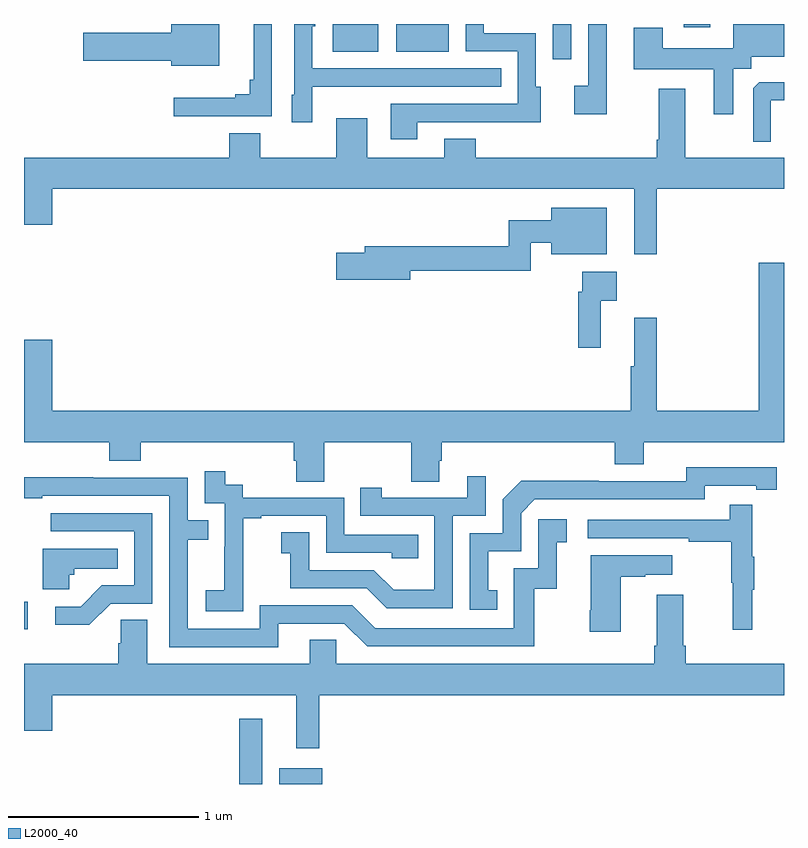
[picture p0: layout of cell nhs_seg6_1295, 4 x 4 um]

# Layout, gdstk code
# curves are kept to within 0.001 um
import gdstk
lib = gdstk.Library(unit=1e-6, precision=1e-09)
def R(c, l, rs):  # rectangles x0, y0, x1, y1
    for r in rs: c.add(gdstk.rectangle(r[:2], r[2:], *l))
def P(c, l, *ps):  # polygons
    for p in ps: c.add(gdstk.Polygon(p, *l))
L2000_40 = (2000, 40)

nhs_seg6_1295 = lib.new_cell('nhs_seg6_1295')
R(nhs_seg6_1295, L2000_40, [(190.134,981.5,190.255,981.844), (190.343,981.5,190.57,981.583), (189,982.314,189.019,982.458), (191.784,985.314,191.88,985.5), (190.625,985.355,190.864,985.5), (190.958,985.355,191.236,985.5), (192.473,985.482,192.613,985.5)])
P(nhs_seg6_1295, L2000_40, [(190.518,985.169),(190.835,985.169),(190.835,985.17),(191.513,985.17),(191.513,985.266),(190.518,985.266),(190.518,985.488),(190.534,985.488),(190.534,985.5),(190.422,985.5),(190.422,985.128),(190.409,985.128),(190.409,984.984),(190.518,984.984)],
  [(190.027,985.5),(189.776,985.5),(189.776,985.454),(189.312,985.454),(189.312,985.307),(189.776,985.307),(189.776,985.28),(190.027,985.28)],
  [(192.733,985.264),(192.828,985.264),(192.828,985.328),(193,985.328),(193,985.5),(192.732,985.5),(192.732,985.372),(192.361,985.372),(192.361,985.481),(192.209,985.481),(192.209,985.262),(192.629,985.262),(192.629,985.026),(192.733,985.026)],
  [(191.071,984.984),(191.501,984.984),(191.501,984.983),(191.719,984.983),(191.719,985.17),(191.694,985.17),(191.694,985.452),(191.421,985.452),(191.421,985.5),(191.325,985.5),(191.325,985.356),(191.598,985.356),(191.598,985.08),(190.931,985.08),(190.931,984.894),(191.071,984.894)],
  [(190.305,985.5),(190.208,985.5),(190.208,985.207),(190.189,985.207),(190.189,985.13),(190.112,985.13),(190.112,985.111),(189.789,985.111),(189.789,985.014),(190.305,985.014)],
  [(192.067,985.5),(191.97,985.5),(191.97,985.174),(191.895,985.174),(191.895,985.026),(192.067,985.026)],
  [(192.93,985.098),(193,985.098),(193,985.193),(192.869,985.193),(192.837,985.161),(192.837,984.881),(192.93,984.881)],
  [(191.377,984.895),(191.213,984.895),(191.213,984.796),(190.807,984.796),(190.807,985.003),(190.643,985.003),(190.643,984.796),(190.243,984.796),(190.243,984.925),(190.079,984.925),(190.079,984.796),(189,984.796),(189,984.444),(189.148,984.444),(189.148,984.632),(192.212,984.632),(192.212,984.288),(192.329,984.288),(192.329,984.632),(193,984.632),(193,984.796),(192.481,984.796),(192.481,985.159),(192.341,985.159),(192.341,984.892),(192.329,984.892),(192.329,984.796),(191.377,984.796)],
  [(191.032,984.202),(191.667,984.202),(191.667,984.349),(191.774,984.349),(191.774,984.287),(192.067,984.287),(192.067,984.532),(191.774,984.532),(191.774,984.466),(191.551,984.466),(191.551,984.331),(190.793,984.331),(190.793,984.297),(190.644,984.297),(190.644,984.155),(191.032,984.155)],
  [(190.581,983.3),(191.038,983.3),(191.038,983.092),(191.185,983.092),(191.185,983.202),(191.198,983.202),(191.198,983.3),(192.11,983.3),(192.11,983.183),(192.262,983.183),(192.262,983.3),(193,983.3),(193,984.244),(192.866,984.244),(192.866,983.464),(192.329,983.464),(192.329,983.953),(192.212,983.953),(192.212,983.7),(192.193,983.7),(192.193,983.464),(189.148,983.464),(189.148,983.839),(189,983.839),(189,983.3),(189.449,983.3),(189.449,983.201),(189.614,983.201),(189.614,983.3),(190.421,983.3),(190.421,983.202),(190.433,983.202),(190.433,983.092),(190.581,983.092)],
  [(192.035,984.044),(192.121,984.044),(192.121,984.196),(191.937,984.196),(191.937,984.092),(191.917,984.092),(191.917,983.796),(192.035,983.796)],
  [(191.492,982.521),(191.443,982.521),(191.443,982.725),(191.616,982.725),(191.616,982.926),(191.688,982.998),(192.582,982.998),(192.582,983.07),(192.854,983.07),(192.854,983.05),(192.962,983.05),(192.962,983.166),(192.486,983.167),(192.486,983.094),(192.026,983.094),(192.026,983.096),(191.618,983.096),(191.52,982.998),(191.52,982.821),(191.346,982.821),(191.346,982.416),(191.492,982.416)],
  [(190.155,982.615),(190.154,982.615),(190.154,982.899),(190.249,982.899),(190.249,982.911),(190.59,982.911),(190.59,982.716),(190.935,982.716),(190.935,982.689),(191.075,982.689),(191.075,982.812),(190.686,982.812),(190.686,983.007),(190.152,983.007),(190.152,983.076),(190.06,983.076),(190.06,983.146),(189.951,983.146),(189.951,982.977),(190.056,982.977),(190.056,982.748),(190.055,982.748),(190.055,982.519),(189.957,982.519),(189.957,982.409),(190.155,982.409)],
  [(191.256,982.911),(191.43,982.911),(191.43,983.119),(191.333,983.119),(191.333,983.007),(190.882,983.007),(190.882,983.059),(190.771,983.059),(190.771,982.911),(191.16,982.911),(191.16,982.522),(190.946,982.522),(190.842,982.626),(190.5,982.626),(190.5,982.825),(190.353,982.825),(190.353,982.715),(190.402,982.715),(190.402,982.53),(190.805,982.53),(190.91,982.425),(191.256,982.425)],
  [(190.339,982.344),(190.686,982.344),(190.806,982.224),(191.686,982.224),(191.686,982.527),(191.804,982.527),(191.804,982.773),(191.857,982.773),(191.857,982.894),(191.706,982.894),(191.706,982.635),(191.577,982.635),(191.577,982.32),(190.848,982.32),(190.728,982.44),(190.242,982.44),(190.242,982.317),(189.861,982.317),(189.861,982.786),(189.971,982.786),(189.971,982.887),(189.861,982.887),(189.861,983.112),(189.365,983.112),(189.365,983.114),(189,983.114),(189,983.004),(189.097,983.004),(189.097,983.016),(189.765,983.016),(189.765,982.221),(190.339,982.221)],
  [(192.833,982.523),(192.844,982.523),(192.844,982.697),(192.833,982.697),(192.833,982.969),(192.715,982.969),(192.715,982.89),(191.967,982.89),(191.967,982.794),(192.499,982.794),(192.499,982.774),(192.723,982.774),(192.723,982.56),(192.73,982.56),(192.73,982.311),(192.833,982.311)],
  [(189.456,982.449),(189.675,982.449),(189.675,982.926),(189.141,982.926),(189.141,982.83),(189.579,982.83),(189.579,982.545),(189.41,982.545),(189.299,982.434),(189.165,982.434),(189.165,982.337),(189.343,982.337)],
  [(189.237,982.602),(189.264,982.602),(189.264,982.634),(189.494,982.634),(189.494,982.738),(189.098,982.738),(189.098,982.526),(189.237,982.526)],
  [(192.142,982.591),(192.269,982.591),(192.269,982.601),(192.412,982.601),(192.412,982.705),(191.984,982.705),(191.984,982.414),(191.977,982.414),(191.977,982.302),(192.142,982.302)],
  [(190.555,981.968),(193,981.968),(193,982.132),(192.482,982.132),(192.482,982.228),(192.469,982.228),(192.469,982.495),(192.329,982.495),(192.329,982.228),(192.317,982.228),(192.317,982.132),(190.644,982.132),(190.644,982.259),(190.505,982.259),(190.505,982.132),(189.649,982.132),(189.649,982.364),(189.51,982.364),(189.51,982.241),(189.497,982.241),(189.497,982.132),(189,982.132),(189,981.78),(189.148,981.78),(189.148,981.968),(190.433,981.968),(190.433,981.687),(190.555,981.687)])

lib.write_gds('nhs_seg6_1295.gds')
